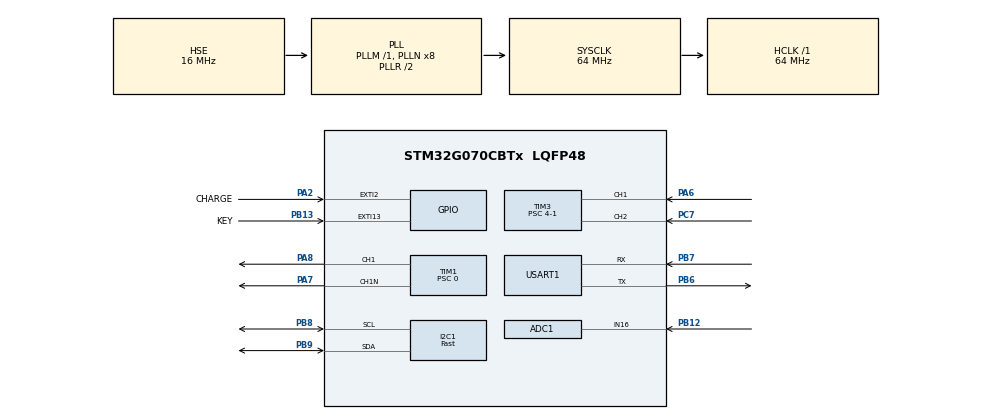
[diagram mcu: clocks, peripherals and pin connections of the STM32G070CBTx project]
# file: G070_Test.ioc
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ADC1.DMAContinuousRequests=ENABLE
ADC1.EOCSelection=ADC_EOC_SINGLE_CONV
ADC1.ExternalTrigConv=ADC_EXTERNALTRIG_T1_TRGO2
ADC1.NbrOfConversion=1
ADC1.NbrOfConversionFlag=0
ADC1.SamplingTimeCommon1=ADC_SAMPLETIME_7CYCLES_5
ADC1.SelectedChannel=ADC_CHANNEL_16
ADC1.Sequencer=NOT_FULLY_CONFIGURABLE
ADC1.master=1
Dma.ADC1.1.Direction=DMA_PERIPH_TO_MEMORY
Dma.ADC1.1.EventEnable=DISABLE
Dma.ADC1.1.Instance=DMA1_Channel1
Dma.ADC1.1.MemDataAlignment=DMA_MDATAALIGN_HALFWORD
Dma.ADC1.1.MemInc=DMA_MINC_ENABLE
Dma.ADC1.1.Mode=DMA_CIRCULAR
Dma.ADC1.1.PeriphDataAlignment=DMA_PDATAALIGN_HALFWORD
Dma.ADC1.1.PeriphInc=DMA_PINC_DISABLE
Dma.ADC1.1.Polarity=HAL_DMAMUX_REQ_GEN_RISING
Dma.ADC1.1.Priority=DMA_PRIORITY_VERY_HIGH
Dma.ADC1.1.RequestNumber=1
Dma.ADC1.1.SignalID=NONE
Dma.ADC1.1.SyncEnable=DISABLE
Dma.ADC1.1.SyncPolarity=HAL_DMAMUX_SYNC_NO_EVENT
Dma.ADC1.1.SyncRequestNumber=1
Dma.ADC1.1.SyncSignalID=NONE
Dma.I2C1_TX.0.Direction=DMA_MEMORY_TO_PERIPH
Dma.I2C1_TX.0.EventEnable=DISABLE
Dma.I2C1_TX.0.Instance=DMA1_Channel2
Dma.I2C1_TX.0.MemDataAlignment=DMA_MDATAALIGN_BYTE
Dma.I2C1_TX.0.MemInc=DMA_MINC_ENABLE
Dma.I2C1_TX.0.Mode=DMA_NORMAL
Dma.I2C1_TX.0.PeriphDataAlignment=DMA_PDATAALIGN_BYTE
Dma.I2C1_TX.0.PeriphInc=DMA_PINC_DISABLE
Dma.I2C1_TX.0.Polarity=HAL_DMAMUX_REQ_GEN_RISING
Dma.I2C1_TX.0.Priority=DMA_PRIORITY_MEDIUM
Dma.I2C1_TX.0.RequestNumber=1
Dma.I2C1_TX.0.SignalID=NONE
Dma.I2C1_TX.0.SyncEnable=DISABLE
Dma.I2C1_TX.0.SyncPolarity=HAL_DMAMUX_SYNC_NO_EVENT
Dma.I2C1_TX.0.SyncRequestNumber=1
Dma.I2C1_TX.0.SyncSignalID=NONE
Dma.Request0=I2C1_TX
Dma.Request1=ADC1
I2C1.I2C_Speed_Mode=I2C_Fast
I2C1.Timing=0x00602173
Mcu.Family=STM32G0
Mcu.Name=STM32G070CBTx
Mcu.Package=LQFP48
NVIC.DMA1_Channel1_IRQn=true\:0\:0\:false\:false\:true\:false\:true
NVIC.DMA1_Channel2_3_IRQn=true\:0\:0\:false\:false\:true\:false\:true
NVIC.EXTI2_3_IRQn=true\:2\:0\:true\:false\:true\:true\:true
NVIC.EXTI4_15_IRQn=true\:2\:0\:true\:false\:true\:true\:true
NVIC.I2C1_IRQn=true\:0\:0\:true\:false\:true\:true\:true
NVIC.TIM1_BRK_UP_TRG_COM_IRQn=true\:0\:0\:false\:false\:true\:true\:true
NVIC.USART1_IRQn=true\:1\:0\:true\:false\:true\:true\:true
PA2.GPIO_Label=CHARGE
PA2.GPIO_ModeDefaultEXTI=GPIO_MODE_IT_RISING_FALLING
PA2.Signal=GPXTI2
PA6.Signal=S_TIM3_CH1
PA7.Mode=PWM Generation1 CH1 CH1N
PA7.Signal=TIM1_CH1N
PA8.Signal=S_TIM1_CH1
PB12.Mode=IN16
PB12.Signal=ADC1_IN16
PB13.GPIO_Label=KEY
PB13.GPIO_ModeDefaultEXTI=GPIO_MODE_IT_FALLING
PB13.GPIO_PuPd=GPIO_PULLUP
PB13.Signal=GPXTI13
PB6.Mode=Asynchronous
PB6.Signal=USART1_TX
PB7.Mode=Asynchronous
PB7.Signal=USART1_RX
PB8.GPIO_Speed=GPIO_SPEED_FREQ_VERY_HIGH
PB8.Mode=I2C
PB8.Signal=I2C1_SCL
PB9.GPIO_Speed=GPIO_SPEED_FREQ_VERY_HIGH
PB9.Mode=I2C
PB9.Signal=I2C1_SDA
PC7.Signal=S_TIM3_CH2
PF0-OSC_IN\ (PF0).Mode=HSE-External-Oscillator
PF0-OSC_IN\ (PF0).Signal=RCC_OSC_IN
PF1-OSC_OUT\ (PF1).Mode=HSE-External-Oscillator
PF1-OSC_OUT\ (PF1).Signal=RCC_OSC_OUT
ProjectManager.HeapSize=0x200
ProjectManager.StackSize=0x400
ProjectManager.TargetToolchain=Makefile
RCC.ADCCLockSelection=RCC_ADCCLKSOURCE_HSI
RCC.ADCFreq_Value=16000000
RCC.AHBFreq_Value=64000000
RCC.CortexFreq_Value=64000000
RCC.EXTERNAL_CLOCK_VALUE=48000
RCC.HCLKFreq_Value=64000000
RCC.HSE_VALUE=16000000
RCC.HSI_VALUE=16000000
RCC.LSE_VALUE=32768
RCC.PLLSourceVirtual=RCC_PLLSOURCE_HSE
RCC.SYSCLKFreq_VALUE=64000000
RCC.SYSCLKSource=RCC_SYSCLKSOURCE_PLLCLK
RCC.VCOOutputFreq_Value=128000000
SH.S_TIM1_CH1.0=TIM1_CH1,PWM Generation1 CH1 CH1N
SH.S_TIM3_CH1.0=TIM3_CH1,Encoder_Interface
SH.S_TIM3_CH2.0=TIM3_CH2,Encoder_Interface
TIM1.Channel-PWM\ Generation1\ CH1\ CH1N=TIM_CHANNEL_1
TIM1.Period=6400-1
TIM1.Prescaler=0
TIM1.TIM_MasterOutputTrigger2=TIM_TRGO2_UPDATE
TIM3.EncoderMode=TIM_ENCODERMODE_TI12
TIM3.IC1Filter=15
TIM3.IC1Polarity=TIM_ICPOLARITY_FALLING
TIM3.IC2Filter=15
TIM3.Prescaler=4-1
USART1.VirtualMode-Asynchronous=VM_ASYNC
VP_SYS_VS_DBSignals.Mode=DisableDeadBatterySignals
board=custom

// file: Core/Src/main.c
/* USER CODE BEGIN Header */
/**
 ******************************************************************************
 * @file           : main.c
 * @brief          : Main program body
 ******************************************************************************
 * @attention
 *
 * <h2><center>&copy; Copyright (c) 2023 STMicroelectronics.
 * All rights reserved.</center></h2>
 *
 * This software component is licensed by ST under BSD 3-Clause license,
 * the "License"; You may not use this file except in compliance with the
 * License. You may obtain a copy of the License at:
 *                        opensource.org/licenses/BSD-3-Clause
 *
 ******************************************************************************
 */
/*
 * Copyright (C) 2023 Atomseek
 *
 * This program is free software: you can redistribute it and/or modify
 * it under the terms of the GNU General Public License as published by
 * the Free Software Foundation, either version 3 of the License, or
 * (at your option) any later version.
 *
 * This program is distributed in the hope that it will be useful,
 * but WITHOUT ANY WARRANTY; without even the implied warranty of
 * MERCHANTABILITY or FITNESS FOR A PARTICULAR PURPOSE.  See the
 * GNU General Public License for more details.
 *
 * You should have received a copy of the GNU General Public License
 * along with this program.  If not, see <https://www.gnu.org/licenses/>.
 */
/* USER CODE END Header */
#include "main.h"
#include "adc.h"
#include "dma.h"
#include "i2c.h"
#include "tim.h"
#include "usart.h"
#include "gpio.h"

/* USER CODE BEGIN Includes */
#include "oled.h"
#include "sinwave.h" //正弦表
#include <math.h>
/* USER CODE END Includes */

/* USER CODE BEGIN PD */
#define SAMP_SIZE 200 // 一个50hz正弦周期内，采样与pwm调整次数，等于开关频率即定时器1的频率除以50
#define LOG_SIZE 5000 // 波形采样一次采样点数量
/* USER CODE END PD */

/* USER CODE BEGIN PV */
uint8_t key_state = 0;    // 1表示开启spwm
uint8_t charge_state = 0; // 1表示充电中
uint8_t switch_state = 0; // 按键按下标志位

uint16_t pwm = 0;          // PWM输出计数值
uint16_t count = 0;        // 定时器计数
uint16_t pwm_half_arr = 0; // pwm重装值的一半，用于参与spwm输出的计算
uint16_t adc_value = 0;    // 采样ADC数组，第一个是电池电压，第二个是输出电压

char RxBuffer = 0;            // 串口接收缓存区
uint16_t adc_count = 0;       // 波形采样计数
uint16_t adc[LOG_SIZE] = {0}; // 波形采样数组

struct
{
    int set;        // 设定电压
    float out;      // 瞬时输出电压
    float rms;      // 输出电压有效值
    float rms_show; // 输出电压显示值
    float rms_sum;  // 计算有效值中间量
} V = {0, 0, 0, 0, 0};

struct
{
    float kP;        // PID比例系数
    float kI;        // PID积分系数
    float kD;        // PID微分系数
    float integralE; // 误差积分
    float deltaE;    // 当前误差
    float MI;        // 调制比Modulation Index，用于控制输出
} PID = {0, 0.001, 0, 0, 0, 0};

// const float sin_wave[SAMP_SIZE]={0};
/* USER CODE END PV */

void SystemClock_Config(void);
/* USER CODE BEGIN PFP */
void USART1_printf(char *format, ...);                                      // printf函数映射到串口
void Rotary(TIM_HandleTypeDef *htim, int *set, int min, int max, int step); // 旋钮函数
void PID_Controller();                                                      // PID控制器
void ADC_Collect();                                                         // 电压采集
void OLED_Show();                                                           // 信息显示函数
/* USER CODE END PFP */

int main(void)
{

    /* MCU Configuration--------------------------------------------------------*/

    /* Reset of all peripherals, Initializes the Flash interface and the Systick. */
    HAL_Init();

    /* Configure the system clock */
    SystemClock_Config();

    /* Initialize all configured peripherals */
    MX_GPIO_Init();
    MX_DMA_Init();
    MX_I2C1_Init();
    MX_ADC1_Init();
    MX_TIM1_Init();
    MX_TIM3_Init();
    MX_USART1_UART_Init();
    /* USER CODE BEGIN 2 */

    OLED_Init(); // oled初始化
    OLED_ShowString(0, 1, "Initializing", 16);
    OLED_Refreash();

    // 初始化定时器和PWM
    pwm_half_arr = (__HAL_TIM_GetAutoreload(&htim1) + 1) / 2; // 获取重装载值的中值，用以配合调制比控制pwm输出
    __HAL_TIM_SET_COUNTER(&htim3, 20000);                     // 编码器计数值设定为20000，可以使计数能正或负增长
    HAL_TIM_Encoder_Start(&htim3, TIM_CHANNEL_ALL);           // 开启编码器
    __HAL_TIM_SET_COMPARE(&htim1, TIM_CHANNEL_1, 0);          // 设置PWM输出为0
    HAL_TIM_Base_Start_IT(&htim1);                            // 开启定时器中断
    HAL_TIM_PWM_Start(&htim1, TIM_CHANNEL_1);                 // 开启pwm输出
    HAL_TIMEx_PWMN_Start(&htim1, TIM_CHANNEL_1);              // 开启pwm互补输出
    HAL_ADCEx_Calibration_Start(&hadc1);                      // 开启ADC校准
    HAL_ADC_Start_DMA(&hadc1, (uint32_t *)&adc_value, 1);     // 开启ADC采样
    HAL_UART_Receive_IT(&huart1, (uint8_t *)&RxBuffer, 1);    // 开启串口接收
    HAL_Delay(1000);
    /* USER CODE END 2 */

    /* Infinite loop */
    /* USER CODE BEGIN WHILE */
    while (1)
    {
        // 状态更新
        if (switch_state == 1)
        {
            switch_state = 0;
            // 重置PID控制器
            count = 0;
            PID.MI = 0;
            PID.integralE = 0;
            // 按键控制关闭电压输出
            if (key_state == 0)
                __HAL_TIM_SET_COMPARE(&htim1, TIM_CHANNEL_1, 0);
        }
        // 波形采样，串口接收到字符1之后，发送0.5s内5000个采样点
        if (RxBuffer == '1')
        {
            RxBuffer = 0;
            adc_count = 0;                                // 开始保存电压采样
            HAL_Delay((20 / SAMP_SIZE) * LOG_SIZE + 100); // 等待采样完成，时间为LOG_SIZE设定采样点采完所需时间
            for (size_t i = 0; i < LOG_SIZE; i++)         // 把保存好的采样数据通过串口发送
                printf("%d\n", adc[i]);
            // 重新开启串口采样命令中断
            HAL_UART_Receive_IT(&huart1, (uint8_t *)&RxBuffer, 1);
        }
        Rotary(&htim3, &V.set, 0, 220, 1); // 旋钮设置电压
        OLED_Show();                       // 信息显示
        HAL_Delay(50);
        /* USER CODE END WHILE */

    }
}

void SystemClock_Config(void)
{
    RCC_OscInitTypeDef RCC_OscInitStruct = {0};
    RCC_ClkInitTypeDef RCC_ClkInitStruct = {0};
    RCC_PeriphCLKInitTypeDef PeriphClkInit = {0};

    /** Configure the main internal regulator output voltage
     */
    HAL_PWREx_ControlVoltageScaling(PWR_REGULATOR_VOLTAGE_SCALE1);
    /** Initializes the RCC Oscillators according to the specified parameters
     * in the RCC_OscInitTypeDef structure.
     */
    RCC_OscInitStruct.OscillatorType = RCC_OSCILLATORTYPE_HSI | RCC_OSCILLATORTYPE_HSE;
    RCC_OscInitStruct.HSEState = RCC_HSE_ON;
    RCC_OscInitStruct.HSIState = RCC_HSI_ON;
    RCC_OscInitStruct.HSIDiv = RCC_HSI_DIV1;
    RCC_OscInitStruct.HSICalibrationValue = RCC_HSICALIBRATION_DEFAULT;
    RCC_OscInitStruct.PLL.PLLState = RCC_PLL_ON;
    RCC_OscInitStruct.PLL.PLLSource = RCC_PLLSOURCE_HSE;
    RCC_OscInitStruct.PLL.PLLM = RCC_PLLM_DIV1;
    RCC_OscInitStruct.PLL.PLLN = 8;
    RCC_OscInitStruct.PLL.PLLP = RCC_PLLP_DIV2;
    RCC_OscInitStruct.PLL.PLLR = RCC_PLLR_DIV2;
    if (HAL_RCC_OscConfig(&RCC_OscInitStruct) != HAL_OK)
    {
        Error_Handler();
    }
    /** Initializes the CPU, AHB and APB buses clocks
     */
    RCC_ClkInitStruct.ClockType = RCC_CLOCKTYPE_HCLK | RCC_CLOCKTYPE_SYSCLK | RCC_CLOCKTYPE_PCLK1;
    RCC_ClkInitStruct.SYSCLKSource = RCC_SYSCLKSOURCE_PLLCLK;
    RCC_ClkInitStruct.AHBCLKDivider = RCC_SYSCLK_DIV1;
    RCC_ClkInitStruct.APB1CLKDivider = RCC_HCLK_DIV1;

    if (HAL_RCC_ClockConfig(&RCC_ClkInitStruct, FLASH_LATENCY_2) != HAL_OK)
    {
        Error_Handler();
    }
    /** Initializes the peripherals clocks
     */
    PeriphClkInit.PeriphClockSelection = RCC_PERIPHCLK_USART1 | RCC_PERIPHCLK_I2C1 | RCC_PERIPHCLK_ADC;
    PeriphClkInit.Usart1ClockSelection = RCC_USART1CLKSOURCE_PCLK1;
    PeriphClkInit.I2c1ClockSelection = RCC_I2C1CLKSOURCE_PCLK1;
    PeriphClkInit.AdcClockSelection = RCC_ADCCLKSOURCE_HSI;
    if (HAL_RCCEx_PeriphCLKConfig(&PeriphClkInit) != HAL_OK)
    {
        Error_Handler();
    }
}

/* USER CODE BEGIN 4 */
// 定时器中断函数
void HAL_TIM_PeriodElapsedCallback(TIM_HandleTypeDef *htim)
{
    if (htim == &htim1)
    {
        count++;       // 定时器递增
        ADC_Collect(); // 电压采样

        if (key_state == 1) // 按键控制输出
        {
            // 最终输出pwm的算法：
            pwm = pwm_half_arr + PID.MI * sin_wave[count];
            __HAL_TIM_SET_COMPARE(&htim1, TIM_CHANNEL_1, pwm);
            // 每个正弦周期后执行一次PID运算
            if (count == 0)
                PID_Controller();
        }
    }
}
void ADC_Collect()
{
    // 读取ADC电压值，计算出输出电压，即采样值乘缩小倍数得到实际值，优化浮点运算
    // 原始公式：V.out = 278 * (((float)adc_value / 4096 * 3) - 1.5);
    V.out = 0.208 * adc_value - 426;
    V.rms_sum += V.out * V.out;
    // 串口控制保存采样数据
    if (adc_count < LOG_SIZE)
    {
        adc[adc_count] = adc_value;
        adc_count++;
    }
    // 计时到50hz的一个周期后,即可计算有效值
    if (count >= SAMP_SIZE)
    {
        count = 0;
        // 均方根计算有效值
        V.rms = sqrt(V.rms_sum / SAMP_SIZE);
        V.rms_sum = 0;
    }
}

// PID控制器
void PID_Controller()
{
    // 误差为设定值与有效值之差
    PID.deltaE = V.set - V.rms;
    // 误差积分
    PID.integralE += PID.deltaE;

    // 积分限幅
    if (PID.integralE < -1000)
        PID.integralE = -1000;
    else if (PID.integralE > 1000)
        PID.integralE = 1000;

    // 纯积分控制
    PID.MI = PID.integralE * PID.kI;

    // 输出限幅
    if (PID.MI < 0)
        PID.MI = 0;
    else if (PID.MI > 0.9)
        PID.MI = 0.9;
}

// 外部中断回调函数
void HAL_GPIO_EXTI_Falling_Callback(uint16_t GPIO_Pin)
{
    // 消抖
    HAL_Delay(30);
    // 按键检测
    if (GPIO_Pin == KEY_Pin)
    {
        if (HAL_GPIO_ReadPin(KEY_GPIO_Port, KEY_Pin) == GPIO_PIN_RESET)
        {
            switch_state = 1;
            // 当充电时不允许控制输出
            if (charge_state != 1)
                key_state = !key_state;
        }
    }
    // 检测充电
    else if (GPIO_Pin == CHARGE_Pin)
    {
        // 充电时关闭输出
        if (HAL_GPIO_ReadPin(CHARGE_GPIO_Port, CHARGE_Pin) == GPIO_PIN_SET)
        {
            switch_state = 1;
            charge_state = 1;
            key_state = 0;
        }
        else
            charge_state = 0;
    }
}

// 显示函数
void OLED_Show()
{
    // 清屏
    OLED_Clear();
    // 按键功能切换后，切换显示的内容
    // 显示开
    if (key_state == 1)
        OLED_ShowCHinese(96, 0, 1);
    // 显示关
    else
        OLED_ShowCHinese(96, 0, 0);
    // 显示高压警告图标
    if (V.rms >= 36)
        OLED_ShowCHinese(112, 2, 2);

    // 显示充电
    if (charge_state == 1)
        OLED_ShowCHinese(112, 0, 7);
    else
        OLED_ShowCHinese(112, 0, 5);

    // 显示数值
    OLED_ShowString(0, 0, "Set:", 16);
    OLED_ShowFloat(32, 0, V.set, 0);

    OLED_ShowString(0, 2, "Out:", 16);
    // 过滤一定电压以内的波动
    if ((V.rms_show - V.rms) > 0.05 || (V.rms_show - V.rms) < -0.05)
        V.rms_show = V.rms + 0.05;        // 线损补偿
    OLED_ShowFloat(32, 2, V.rms_show, 2); // 显示补偿后的有效值

    OLED_Refreash();
}

// 旋钮函数
//  htim:使用的编码器定时器
//  set:使用旋钮修改的值
//  min:旋钮可以设置的最小值
//  max:旋钮可以设置的最大值
//  step:每旋转一格，设置的对应值，设为负数可以改变旋转方向
void Rotary(TIM_HandleTypeDef *htim, int *set, int min, int max, int step)
{
    int rotary_count = __HAL_TIM_GET_COUNTER(htim);   // 获取旋钮计数值
    if (rotary_count < 10000 || 30000 < rotary_count) // 过滤异常计数
        __HAL_TIM_SET_COUNTER(htim, 20000);
    else if (rotary_count != 20000)
    {
        // 数值调节
        int set_temp = *set;
        set_temp += (rotary_count - 20000) * step;
        if (set_temp < min)
            *set = min;
        else if (set_temp > max)
            *set = max;
        else
            *set = set_temp;
        // 重新设置旋钮计数器为20000的初始值
        __HAL_TIM_SET_COUNTER(htim, 20000);
    }
}

// 重定向printf串口发送数据
#ifdef __GNUC__
int _write(int fd, char *ptr, int len)
{
    HAL_UART_Transmit(&huart1, (uint8_t *)ptr, len, 0xFFFF);
    return len;
}
#endif
/* USER CODE END 4 */

void Error_Handler(void)
{
    /* USER CODE BEGIN Error_Handler_Debug */
    /* User can add his own implementation to report the HAL error return state */
    __disable_irq();
    OLED_Clear();
    OLED_ShowString(0, 1, "Error", 16);
    OLED_Refreash();
    while (1)
    {
    }
    /* USER CODE END Error_Handler_Debug */
}

/************************ (C) COPYRIGHT STMicroelectronics *****END OF FILE****/
